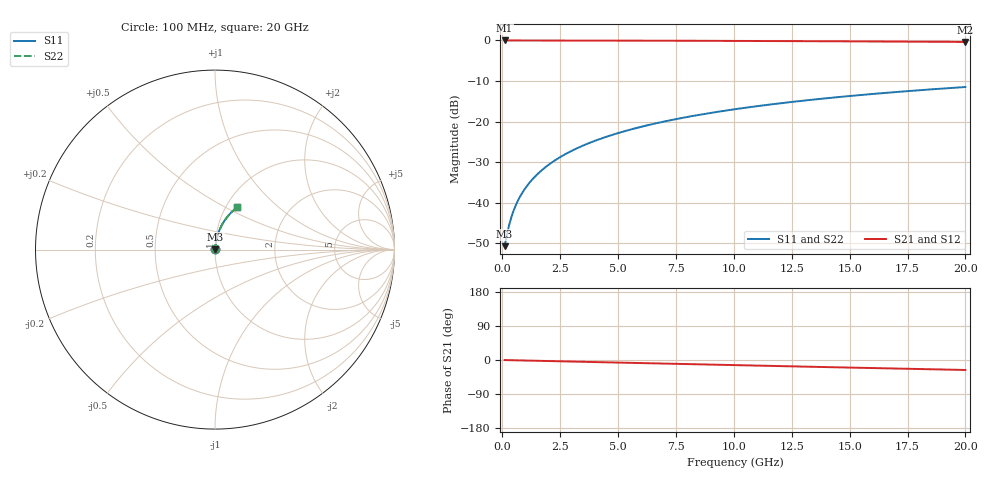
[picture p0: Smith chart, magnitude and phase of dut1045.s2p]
! Touchstone file exported from HFSS 2026.1.0
!  File:  C:/ffzhzh/LocalFiles/Ansys_Project_Files/temp_train_BSMRDL_1045_1783173820_51560.aedt
!  Generated:  10:04:59 PM Jul  4, 2026
!  Design:  BSMRDL
!  Project:  temp_train_BSMRDL_1045_1783173820_51560
! Variables:
!  h_bsmrdl = 2.44um
!  h_ox = 20um
!  h_rdl = 5um
!  h_sub = 80um
!  h_tmrdl = 5um
!  h_tsv = 80um
!  h_via = 3um
!  l_bsmrdl = 339.78um
!  l_sub = 739.78um
!  l_tmrdl = 200um
!  m_sub = 200um
!  pitch = 50.05um
!  r_tsv = 6um
!  s_tmrdl = 10um
!  w_bsmrdl = 23.34um
!  w_sub = 500um
!  w_tmrdl = 12um
!  x_tsv_center1 = 206um
!  x_tsv_center2 = 569.12um
!  x_tsv_center3 = 781.12um
!  x_tsv_center4 = 1144.24um
!  x_tsv_center5 = 1356.24um
!  x_tsv_center6 = 1719.36um
# GHz S MA R 50.000000
! Terminal data exported
! Port[1] = BSM_RDL1_1_T1
! Port[2] = BSM_RDL1_1_T2
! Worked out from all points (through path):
!   200 points, 100 MHz to 20 GHz, reference 50 ohm
!   highest |S21| = -0.02 dB at 100 MHz (marker M1); lowest = -0.4 dB at 20 GHz (marker M2)
!   group delay of S21, straight-line fit = 3.66 ps
!   lowest |S11| = -50.7 dB at 100 MHz (marker M3), VSWR 1.01, Z = 50.2 + j0.159 ohm
!   |S11| at or under -10 dB: start of sweep to end of sweep
!   |S22| runs from -50.7 to -11.5 dB; largest |S21 - S12| = 3.5e-15
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0.1  0.002911 33.0  0.9976 -0.1  0.9976 -0.1  0.002911 33.0
! Gamma 0 0 0 0
! Port Impedance 50 0 50 0
0.2  0.00403 51.3  0.9975 -0.3  0.9975 -0.3  0.00403 51.3
0.3  0.00536 60.6  0.9974 -0.4  0.9974 -0.4  0.00536 60.6
0.4  0.006747 65.9  0.9973 -0.6  0.9973 -0.6  0.006747 65.9
0.5  0.008147 69.3  0.9972 -0.7  0.9972 -0.7  0.008147 69.3
0.6  0.009547 71.7  0.9971 -0.8  0.9971 -0.8  0.009547 71.7
0.8  0.01235 74.9  0.9969 -1.1  0.9969 -1.1  0.01235 74.9
1.1  0.01656 77.7  0.9968 -1.5  0.9968 -1.5  0.01656 77.7
1.3  0.01938 78.8  0.9967 -1.8  0.9967 -1.8  0.01938 78.8
1.6  0.02362 80.0  0.9965 -2.2  0.9965 -2.2  0.02362 80.0
2.1  0.03074 80.9  0.9962 -2.9  0.9962 -2.9  0.03074 81.0
2.7  0.0393 81.4  0.9959 -3.7  0.9959 -3.7  0.0393 81.4
3.5  0.05072 81.2  0.9952 -4.8  0.9952 -4.8  0.05072 81.3
4.2  0.06068 80.8  0.9945 -5.7  0.9945 -5.7  0.06068 80.8
5  0.07203 80.2  0.9936 -6.8  0.9936 -6.8  0.07203 80.2
5.9  0.08472 79.3  0.9924 -8.0  0.9924 -8.0  0.08472 79.3
6.8  0.09731 78.3  0.9911 -9.2  0.9911 -9.2  0.09731 78.3
8.3  0.1181 76.5  0.9885 -11.3  0.9885 -11.3  0.1181 76.6
10.1  0.1425 74.3  0.9848 -13.6  0.9848 -13.6  0.1425 74.4
13.4  0.1859 70.2  0.9767 -18.0  0.9767 -18.0  0.1859 70.3
16.7  0.2272 66.1  0.9673 -22.2  0.9673 -22.2  0.2272 66.2
20  0.2663 62.1  0.9567 -26.3  0.9567 -26.3  0.2663 62.1
